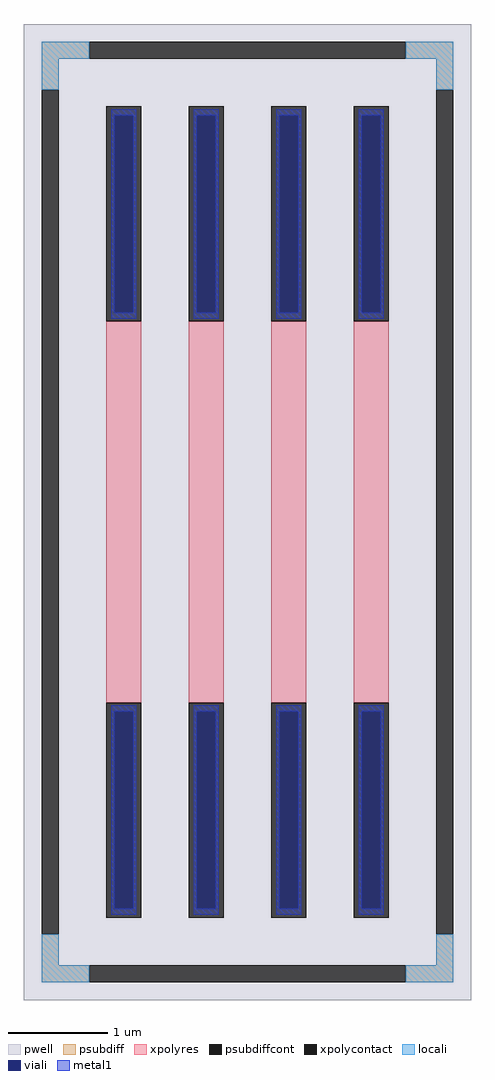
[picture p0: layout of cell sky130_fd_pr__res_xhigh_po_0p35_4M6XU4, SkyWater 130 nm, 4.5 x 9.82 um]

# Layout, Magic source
magic
tech sky130A
magscale 1 2
<< pwell >>
rect -450 -982 450 982
<< psubdiff >>
rect -414 912 -318 946
rect 318 912 414 946
rect -414 850 -380 912
rect 380 850 414 912
rect -414 -912 -380 -850
rect 380 -912 414 -850
rect -414 -946 -318 -912
rect 318 -946 414 -912
<< psubdiffcont >>
rect -318 912 318 946
rect -414 -850 -380 850
rect 380 -850 414 850
rect -318 -946 318 -912
<< xpolycontact >>
rect -284 384 -214 816
rect -284 -816 -214 -384
rect -118 384 -48 816
rect -118 -816 -48 -384
rect 48 384 118 816
rect 48 -816 118 -384
rect 214 384 284 816
rect 214 -816 284 -384
<< xpolyres >>
rect -284 -384 -214 384
rect -118 -384 -48 384
rect 48 -384 118 384
rect 214 -384 284 384
<< locali >>
rect -414 912 -318 946
rect 318 912 414 946
rect -414 850 -380 912
rect 380 850 414 912
rect -414 -912 -380 -850
rect 380 -912 414 -850
rect -414 -946 -318 -912
rect 318 -946 414 -912
<< viali >>
rect -268 401 -230 798
rect -102 401 -64 798
rect 64 401 102 798
rect 230 401 268 798
rect -268 -798 -230 -401
rect -102 -798 -64 -401
rect 64 -798 102 -401
rect 230 -798 268 -401
<< metal1 >>
rect -274 798 -224 810
rect -274 401 -268 798
rect -230 401 -224 798
rect -274 389 -224 401
rect -108 798 -58 810
rect -108 401 -102 798
rect -64 401 -58 798
rect -108 389 -58 401
rect 58 798 108 810
rect 58 401 64 798
rect 102 401 108 798
rect 58 389 108 401
rect 224 798 274 810
rect 224 401 230 798
rect 268 401 274 798
rect 224 389 274 401
rect -274 -401 -224 -389
rect -274 -798 -268 -401
rect -230 -798 -224 -401
rect -274 -810 -224 -798
rect -108 -401 -58 -389
rect -108 -798 -102 -401
rect -64 -798 -58 -401
rect -108 -810 -58 -798
rect 58 -401 108 -389
rect 58 -798 64 -401
rect 102 -798 108 -401
rect 58 -810 108 -798
rect 224 -401 274 -389
rect 224 -798 230 -401
rect 268 -798 274 -401
rect 224 -810 274 -798
<< properties >>
string FIXED_BBOX -397 -929 397 929
string gencell sky130_fd_pr__res_xhigh_po_0p35
string library sky130
string parameters w 0.35 l 4.0 m 1 nx 4 wmin 0.350 lmin 0.50 rho 2000 val 23.932k dummy 0 dw 0.0 term 188.2 sterm 0.0 caplen 0 wmax 0.350 guard 1 glc 1 grc 1 gtc 1 gbc 1 compatible {sky130_fd_pr__res_xhigh_po_0p35  sky130_fd_pr__res_xhigh_po_0p69 sky130_fd_pr__res_xhigh_po_1p41  sky130_fd_pr__res_xhigh_po_2p85 sky130_fd_pr__res_xhigh_po_5p73} snake 0 full_metal 1 n_guard 0 hv_guard 0 vias 1 viagb 0 viagt 0 viagl 0 viagr 0
<< end >>
